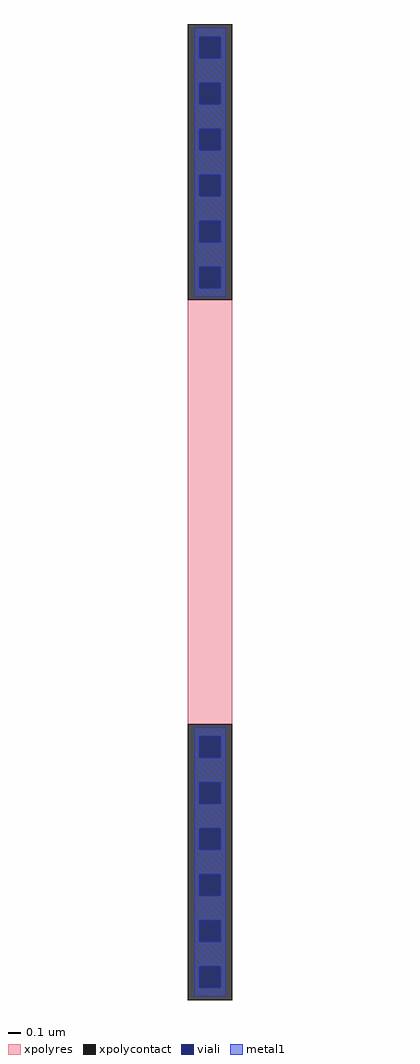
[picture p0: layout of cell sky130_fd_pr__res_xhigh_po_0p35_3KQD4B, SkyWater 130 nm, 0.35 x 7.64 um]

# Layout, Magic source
magic
tech sky130A
magscale 1 2
<< xpolycontact >>
rect -35 332 35 764
rect -35 -764 35 -332
<< xpolyres >>
rect -35 -332 35 332
<< viali >>
rect -17 710 17 744
rect -17 638 17 672
rect -17 566 17 600
rect -17 494 17 528
rect -17 422 17 456
rect -17 350 17 384
rect -17 -385 17 -351
rect -17 -457 17 -423
rect -17 -529 17 -495
rect -17 -601 17 -567
rect -17 -673 17 -639
rect -17 -745 17 -711
<< metal1 >>
rect -25 744 25 758
rect -25 710 -17 744
rect 17 710 25 744
rect -25 672 25 710
rect -25 638 -17 672
rect 17 638 25 672
rect -25 600 25 638
rect -25 566 -17 600
rect 17 566 25 600
rect -25 528 25 566
rect -25 494 -17 528
rect 17 494 25 528
rect -25 456 25 494
rect -25 422 -17 456
rect 17 422 25 456
rect -25 384 25 422
rect -25 350 -17 384
rect 17 350 25 384
rect -25 337 25 350
rect -25 -351 25 -337
rect -25 -385 -17 -351
rect 17 -385 25 -351
rect -25 -423 25 -385
rect -25 -457 -17 -423
rect 17 -457 25 -423
rect -25 -495 25 -457
rect -25 -529 -17 -495
rect 17 -529 25 -495
rect -25 -567 25 -529
rect -25 -601 -17 -567
rect 17 -601 25 -567
rect -25 -639 25 -601
rect -25 -673 -17 -639
rect 17 -673 25 -639
rect -25 -711 25 -673
rect -25 -745 -17 -711
rect 17 -745 25 -711
rect -25 -758 25 -745
<< end >>
